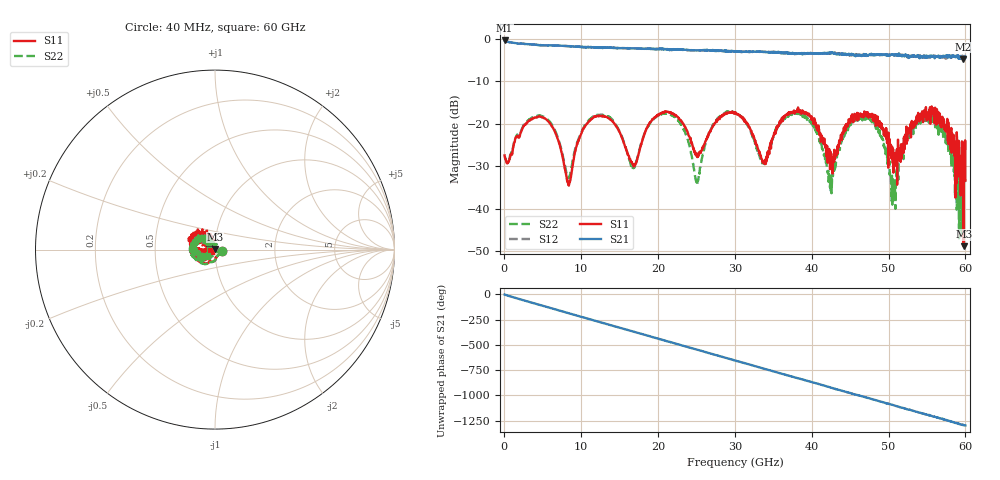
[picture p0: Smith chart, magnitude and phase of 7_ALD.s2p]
! File created by 'SoftPlot +Plus+ Measurement Management Software'
! SoftPlot +Plus+ Measurement Management Software
! Start 40.000000 MHz  Stop 60.000000 GHz  Points 1601
# MHZ S RI R 50
! S-Parameter data, F S11 S21 S12 S22
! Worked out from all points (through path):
!   1601 points, 40 MHz to 60 GHz, reference 50 ohm
!   highest |S21| = -0.43 dB at 40 MHz (marker M1); lowest = -4.8 dB at 59.66 GHz (marker M2)
!   group delay of S21, straight-line fit = 60 ps
!   lowest |S11| = -48.8 dB at 59.78 GHz (marker M3), VSWR 1.01, Z = 50 + j0.364 ohm
!   |S11| at or under -10 dB: start of sweep to end of sweep
!   |S22| runs from -46.9 to -17.1 dB; largest |S21 - S12| = 0.064
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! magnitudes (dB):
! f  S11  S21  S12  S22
! 40 MHz  -27.4  -0.4  -0.4  -27.6
! 4.799 GHz  -18.4  -1.5  -1.5  -18.2
! 8.397 GHz  -34.5  -1.8  -1.8  -32.7
! 10.05 GHz  -22.2  -2.0  -1.9  -21.9
! 13.72 GHz  -18.8  -2.1  -2.1  -18.5
! 16.79 GHz  -29.8  -2.3  -2.3  -30.3
! 20.05 GHz  -17.8  -2.5  -2.4  -18.0
! 22.94 GHz  -19.1  -2.5  -2.6  -20.1
! 25.07 GHz  -27.3  -2.7  -2.8  -33.8
! 30.02 GHz  -17.2  -2.9  -2.9  -17.3
! 33.8 GHz  -28.9  -3.1  -3.1  -29.1
! 36.77 GHz  -17.7  -3.4  -3.2  -18.2
! 40.03 GHz  -18.5  -3.4  -3.5  -19.8
! 42.39 GHz  -30.7  -3.2  -3.2  -35.0
! 45.76 GHz  -18.1  -3.9  -3.6  -18.6
! 50.03 GHz  -24.0  -3.8  -3.8  -28.4
! 50.63 GHz  -31.5  -3.8  -3.9  -37.2
! 54.9 GHz  -17.8  -4.1  -4.3  -17.3
! 59.03 GHz  -29.2  -3.9  -3.9  -30.4
! 59.66 GHz  -36.3  -4.8  -4.5  -28.2
! 59.78 GHz  -48.8  -4.3  -4.1  -29.6
! 60 GHz  -33.4  -4.4  -4.6  -25.2
